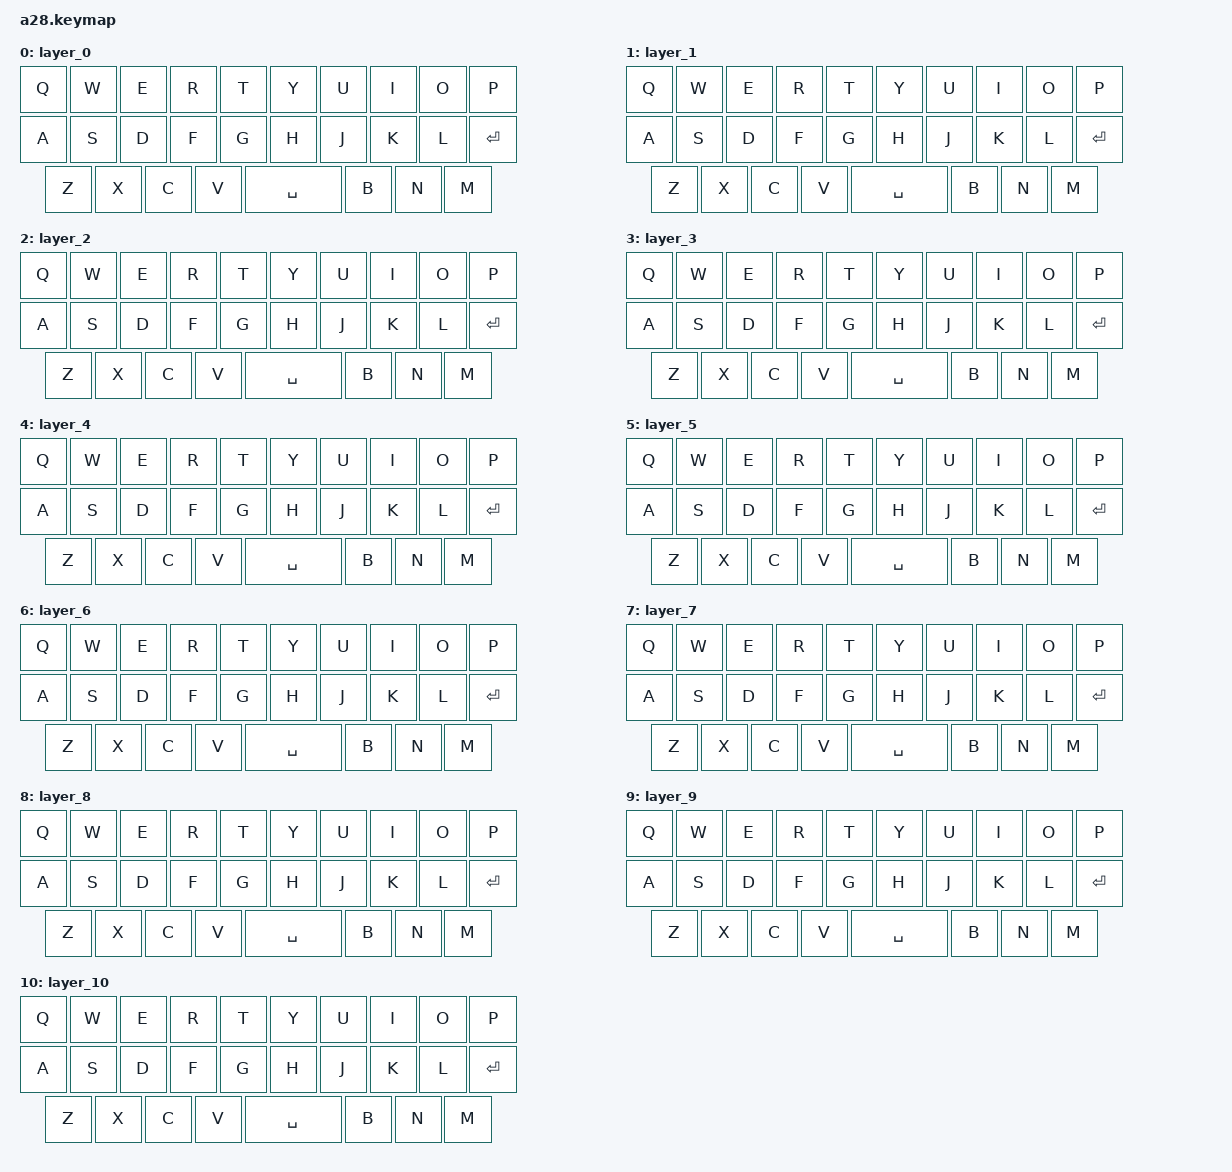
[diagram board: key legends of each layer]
/*
 * Copyright (c) 2024 Mysteryassss
 *
 * SPDX-License-Identifier: MIT
 */

#include <behaviors.dtsi>
#include <dt-bindings/zmk/keys.h>
#include <dt-bindings/zmk/bt.h>

#define BT0 BT_SEL 0
#define BT1 BT_SEL 1
#define BT2 BT_SEL 2

/ {
    keymap {
        compatible = "zmk,keymap";

        layer_0 {
            bindings = <
	 &kp Q  &kp W  &kp E  &kp R  &kp T  &kp Y  &kp U  &kp I  &kp O  &kp P
	&kp A  &kp S  &kp D  &kp F  &kp G  &kp H  &kp J  &kp K  &kp L   &kp RET
	&kp Z  &kp X  &kp C  &kp V  &kp SPACE  &kp B  &kp N  &kp M 
				>;
			};

	layer_1 {
            bindings = <
	 &kp Q  &kp W  &kp E  &kp R  &kp T  &kp Y  &kp U  &kp I  &kp O  &kp P
	&kp A  &kp S  &kp D  &kp F  &kp G  &kp H  &kp J  &kp K  &kp L   &kp RET
	&kp Z  &kp X  &kp C  &kp V  &kp SPACE  &kp B  &kp N  &kp M 
				>;
			};

	layer_2 {
            bindings = <
	 &kp Q  &kp W  &kp E  &kp R  &kp T  &kp Y  &kp U  &kp I  &kp O  &kp P
	&kp A  &kp S  &kp D  &kp F  &kp G  &kp H  &kp J  &kp K  &kp L   &kp RET
	&kp Z  &kp X  &kp C  &kp V  &kp SPACE  &kp B  &kp N  &kp M 
				>;
			};

	layer_3 {
            bindings = <
	 &kp Q  &kp W  &kp E  &kp R  &kp T  &kp Y  &kp U  &kp I  &kp O  &kp P
	&kp A  &kp S  &kp D  &kp F  &kp G  &kp H  &kp J  &kp K  &kp L   &kp RET
	&kp Z  &kp X  &kp C  &kp V  &kp SPACE  &kp B  &kp N  &kp M 
				>;
			};

	layer_4 {
            bindings = <
	 &kp Q  &kp W  &kp E  &kp R  &kp T  &kp Y  &kp U  &kp I  &kp O  &kp P
	&kp A  &kp S  &kp D  &kp F  &kp G  &kp H  &kp J  &kp K  &kp L   &kp RET
	&kp Z  &kp X  &kp C  &kp V  &kp SPACE  &kp B  &kp N  &kp M 
				>;
			};

	layer_5 {
            bindings = <
	 &kp Q  &kp W  &kp E  &kp R  &kp T  &kp Y  &kp U  &kp I  &kp O  &kp P
	&kp A  &kp S  &kp D  &kp F  &kp G  &kp H  &kp J  &kp K  &kp L   &kp RET
	&kp Z  &kp X  &kp C  &kp V  &kp SPACE  &kp B  &kp N  &kp M 
				>;
			};

	layer_6 {
            bindings = <
	 &kp Q  &kp W  &kp E  &kp R  &kp T  &kp Y  &kp U  &kp I  &kp O  &kp P
	&kp A  &kp S  &kp D  &kp F  &kp G  &kp H  &kp J  &kp K  &kp L   &kp RET
	&kp Z  &kp X  &kp C  &kp V  &kp SPACE  &kp B  &kp N  &kp M 
				>;
			};

	layer_7 {
            bindings = <
	 &kp Q  &kp W  &kp E  &kp R  &kp T  &kp Y  &kp U  &kp I  &kp O  &kp P
	&kp A  &kp S  &kp D  &kp F  &kp G  &kp H  &kp J  &kp K  &kp L   &kp RET
	&kp Z  &kp X  &kp C  &kp V  &kp SPACE  &kp B  &kp N  &kp M 
				>;
			};

	layer_8 {
            bindings = <
	 &kp Q  &kp W  &kp E  &kp R  &kp T  &kp Y  &kp U  &kp I  &kp O  &kp P
	&kp A  &kp S  &kp D  &kp F  &kp G  &kp H  &kp J  &kp K  &kp L   &kp RET
	&kp Z  &kp X  &kp C  &kp V  &kp SPACE  &kp B  &kp N  &kp M 
				>;
			};

	layer_9 {
            bindings = <
	 &kp Q  &kp W  &kp E  &kp R  &kp T  &kp Y  &kp U  &kp I  &kp O  &kp P
	&kp A  &kp S  &kp D  &kp F  &kp G  &kp H  &kp J  &kp K  &kp L   &kp RET
	&kp Z  &kp X  &kp C  &kp V  &kp SPACE  &kp B  &kp N  &kp M 
				>;
			};

	layer_10 {
            bindings = <
	 &kp Q  &kp W  &kp E  &kp R  &kp T  &kp Y  &kp U  &kp I  &kp O  &kp P
	&kp A  &kp S  &kp D  &kp F  &kp G  &kp H  &kp J  &kp K  &kp L   &kp RET
	&kp Z  &kp X  &kp C  &kp V  &kp SPACE  &kp B  &kp N  &kp M 
				>;
			};
	};
};
